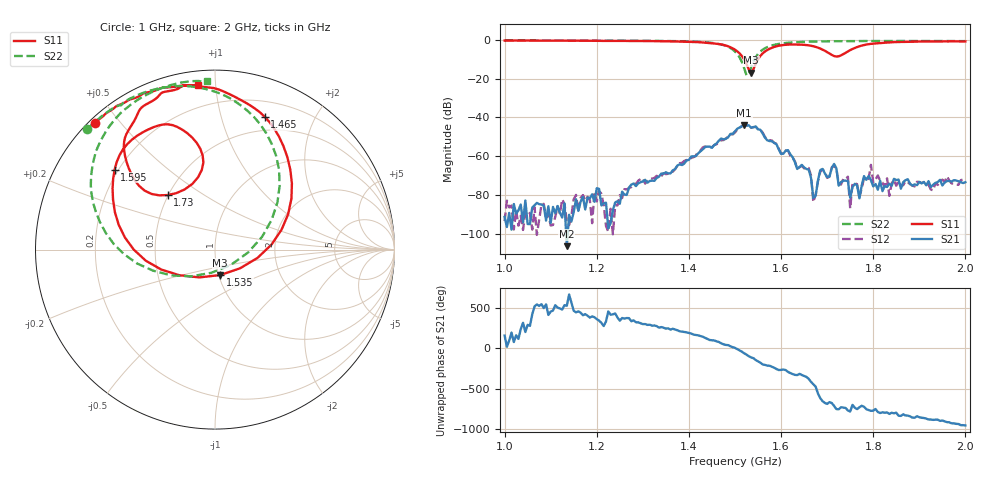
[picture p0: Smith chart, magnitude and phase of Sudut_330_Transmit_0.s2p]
# Hz S RI R 50
! CMT, C1220, 16058040, 17.2.0/1
! Date: 15/08/2018 09:08:13
! Data: Format (Calibration Info)
! Freq  S11: Re/Im (F2)  S21: Re/Im (F2)  S12: Re/Im (F2)  S22: Re/Im (F2)
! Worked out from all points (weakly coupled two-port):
!   201 points, 1 GHz to 2 GHz, reference 50 ohm
!   highest |S21| = -43.96 dB at 1.52 GHz (marker M1); lowest = -106.5 dB at 1.135 GHz (marker M2)
!   lowest |S11| = -16.8 dB at 1.535 GHz (marker M3), VSWR 1.34, Z = 50.9 - j14.7 ohm
!   |S11| at or under -10 dB: 1.52 GHz to 1.55 GHz (29.85 MHz wide, 1.94 % of centre)
!   |S22| runs from -18.2 to -0.2 dB; largest |S21 - S12| = 0.00047
!   S11 on the Smith chart (normalised r, x): 1 GHz: 0.02, +0.43; 1.465 GHz: 0.35, +1.38; 1.535 GHz: 1.02, -0.29; 1.595 GHz: 0.19, +0.34; 1.73 GHz: 0.50, +0.36; 2 GHz: 0.07, +0.90
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1e9  -0.6685 0.7079  -2.53e-05 9.42e-06  6.41e-06 -2e-05  -0.7133 0.6695
1.135e9  -0.5394 0.8037  -4.64e-06 9.27e-07  8.79e-06 1.9e-05  -0.5991 0.7674
1.17e9  -0.4901 0.8275  5.51e-05 7e-05  2.01e-05 9.68e-05  -0.5622 0.7914
1.335e9  -0.2143 0.9086  -6.27e-05 -0.000288  -3.5e-05 -0.000273  -0.3303 0.894
1.465e9  0.2775 0.7392  0.00042 0.00249  0.000578 0.00228  0.1834 0.7714
1.5e9  0.4284 0.368  0.00436 0.000542  0.00409 0.000471  0.3602 0.3565
1.52e9  0.3148 0.0278  0.00319 -0.00548  0.0033 -0.00549  0.185 -0.0155
1.535e9  0.0292 -0.1418  -0.00197 -0.0051  -0.00201 -0.00509  -0.133 -0.149
1.595e9  -0.5593 0.4455  -7.21e-05 0.0015  -5.42e-05 0.00155  -0.6909 0.3984
1.66e9  -0.2362 0.6934  0.000429 -0.000124  0.00048 -0.000114  -0.5765 0.7025
1.67e9  -0.1833 0.6688  1.07e-05 -8.25e-05  2.93e-05 -5.87e-05  -0.5553 0.7281
1.69e9  -0.0818 0.5618  0.000184 0.000432  0.000163 0.000421  -0.5181 0.7677
1.715e9  -0.1257 0.3662  0.000623 9.51e-05  0.000549 0.00011  -0.4696 0.8074
1.73e9  -0.2646 0.3038  0.000213 -3.21e-05  0.00018 -3.89e-05  -0.4438 0.8255
1.77e9  -0.4922 0.4872  8.04e-05 -1.23e-05  8.66e-05 -2.49e-05  -0.3775 0.8645
1.78e9  -0.5059 0.5493  0.000305 -1.16e-05  0.000272 -5.26e-05  -0.3607 0.8732
1.795e9  -0.5019 0.6221  0.000145 -0.000191  -0.0001 -0.000589  -0.3383 0.8836
1.8e9  -0.4939 0.643  0.000105 -0.000129  9.17e-05 -0.000188  -0.3305 0.8865
1.83e9  -0.4346 0.7481  4.91e-05 -0.000152  0.000135 -0.000232  -0.2871 0.904
1.835e9  -0.4289 0.761  -2.64e-06 -0.000195  -1.29e-05 -9.36e-05  -0.2794 0.9061
1.845e9  -0.4171 0.7827  2.99e-05 -0.000259  5.95e-05 -0.000237  -0.2632 0.9111
2e9  -0.0929 0.9198  -0.000126 0.000172  -8.63e-05 0.000216  -0.0445 0.9413
